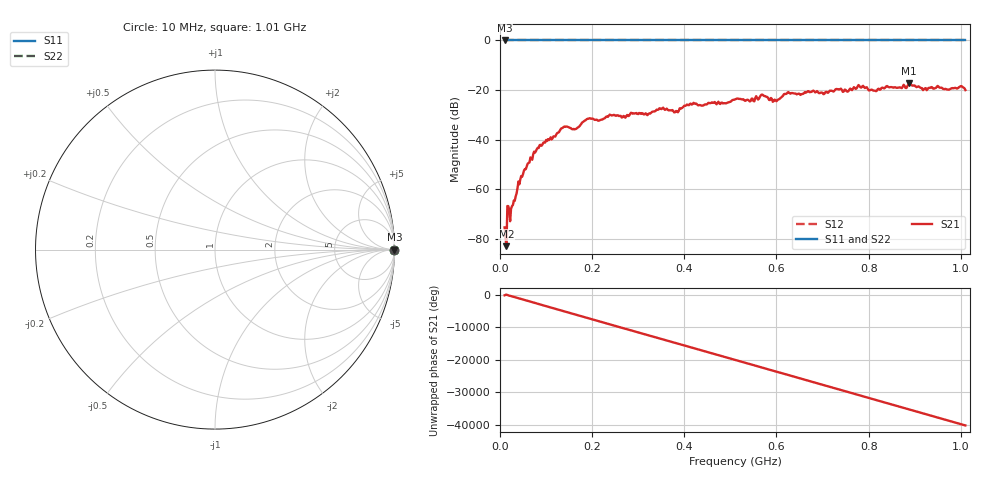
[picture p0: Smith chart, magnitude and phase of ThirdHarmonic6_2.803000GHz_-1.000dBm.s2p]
! 8/17/2025 7:19:07 AM
! C:\ANRITSUVNA\TEMP\TEMP.S2P
! CHANNEL.1
! TR.MEASUREMENT
! RAW.DATA
! RF.CORRECTION.OFF
! AVERAGING.OFF
! IF.BANDWIDTH: 5KHZ
! SWEEPTYPE:  FREQ.SWEEP(Linear)
! Reference Plane Port Info
! PORT:  PORT1  PORT2
! DISTANCE:  0  m  0  m
! TIME:  0  s  0  s
! PHASE.OFFSET:  0  deg.  0  deg.
! LOSS:  0  dB  0  dB
! REF.LOSS:  0  dB  0  dB
! REF.FREQ:  0  Hz  0  Hz
! Power Info
! POWER:  -20  dBm  -20  dBm
! EFF.POWER:  -20  dBm  -20  dBm
! SOURCE.ATTEN:  0  dB  0  dB
! TEST.ATTEN:  0  dB  0  dB
# GHZ S RI R 50.0
! FREQ.GHZ  S11RE  S11IM  S21RE  S21IM  S12RE  S12IM  S22RE  S22IM
!; PortSelection: Port_12
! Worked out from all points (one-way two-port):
!   501 points, 10 MHz to 1.01 GHz, reference 50 ohm
!   highest |S21| = -17.25 dB at 888 MHz (marker M1); lowest = -83.0 dB at 14 MHz (marker M2)
!   lowest |S11| = 0.0 dB at 10 MHz (marker M3)
!   |S11| at or under -10 dB: nowhere
!   |S22| runs from 0.0 to 0.0 dB; largest |S21 - S12| = 1.1
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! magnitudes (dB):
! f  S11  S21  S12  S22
! 10 MHz  0.0  -75.4  0.0  0.0
! 14 MHz  0.0  -83.0  0.0  0.0
! 20 MHz  0.0  -68.4  0.0  0.0
! 26 MHz  0.0  -66.8  0.0  0.0
! 42 MHz  0.0  -58.0  0.0  0.0
! 78 MHz  0.0  -44.6  0.0  0.0
! 136 MHz  0.0  -35.3  0.0  0.0
! 162 MHz  0.0  -35.8  0.0  0.0
! 178 MHz  0.0  -33.1  0.0  0.0
! 344 MHz  0.0  -27.9  0.0  0.0
! 382 MHz  0.0  -28.5  0.0  0.0
! 416 MHz  0.0  -25.9  0.0  0.0
! 510 MHz  0.0  -23.8  0.0  0.0
! 548 MHz  0.0  -23.5  0.0  0.0
! 570 MHz  0.0  -21.9  0.0  0.0
! 596 MHz  0.0  -23.8  0.0  0.0
! 622 MHz  0.0  -21.5  0.0  0.0
! 678 MHz  0.0  -20.4  0.0  0.0
! 844 MHz  0.0  -18.9  0.0  0.0
! 888 MHz  0.0  -17.2  0.0  0.0
! 922 MHz  0.0  -19.4  0.0  0.0
! 1.01 GHz  0.0  -20.0  0.0  0.0
